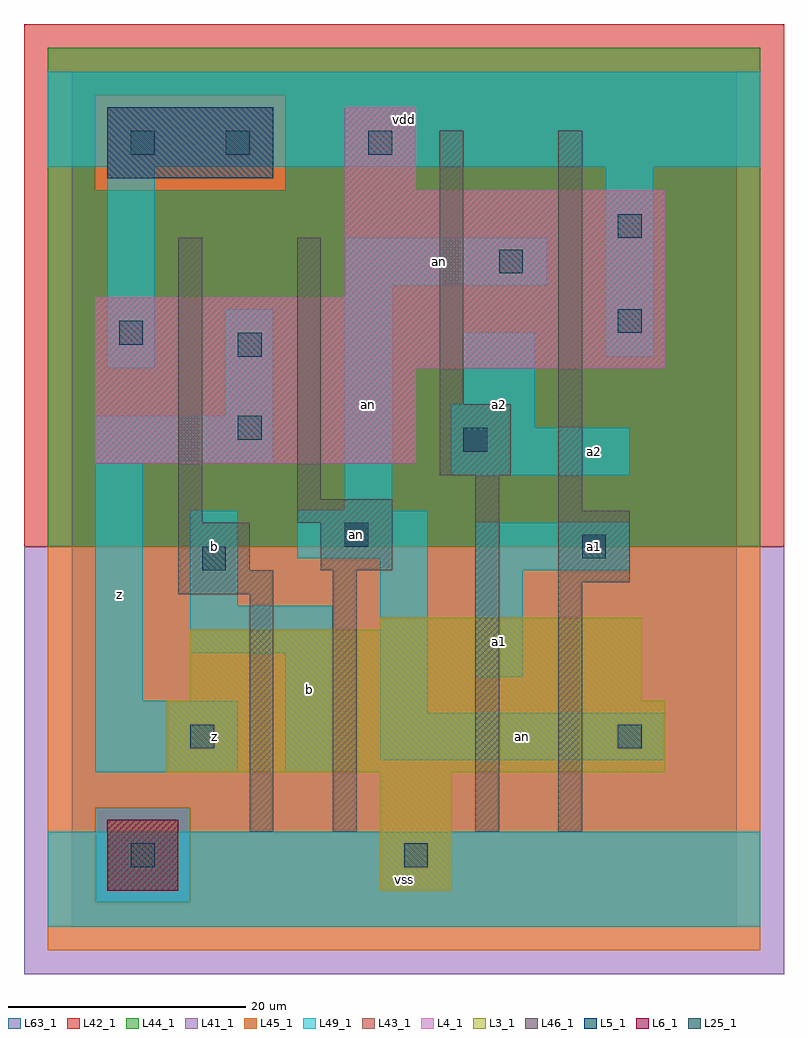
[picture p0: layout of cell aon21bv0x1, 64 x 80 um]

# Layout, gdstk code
import gdstk
lib = gdstk.Library(unit=1e-6, precision=1e-09)
def R(c, l, rs):  # rectangles x0, y0, x1, y1
    for r in rs: c.add(gdstk.rectangle(r[:2], r[2:], *l))
L3_1 = (3, 1)
L4_1 = (4, 1)
L5_1 = (5, 1)
L6_1 = (6, 1)
L25_1 = (25, 1)
L41_1 = (41, 1)
L42_1 = (42, 1)
L43_1 = (43, 1)
L44_1 = (44, 1)
L45_1 = (45, 1)
L46_1 = (46, 1)
L49_1 = (49, 1)
L63_1 = (63, 1)

aon21bv0x1 = lib.new_cell('aon21bv0x1')
R(aon21bv0x1, L3_1, [(26,3,32,13), (8,13,50,19), (10,19,48,25), (26,25,48,26)])
R(aon21bv0x1, L4_1, [(2,39,29,47), (2,47,50,53), (23,53,50,62), (23,62,29,69)])
R(aon21bv0x1, L5_1, [(3,63,17,69)])
R(aon21bv0x1, L6_1, [(3,3,9,9), (3,3,9,9)])
R(aon21bv0x1, L25_1, [(5,5,7,7), (28,5,30,7), (10,15,12,17), (46,15,48,17), (11,30,13,32), (43,31,45,33), (23,32,25,34), (33,40,35,42), (14,41,16,43), (14,48,16,50), (4,49,6,51), (46,50,48,52), (36,55,38,57), (46,58,48,60), (5,65,7,67), (13,65,15,67), (25,65,27,67)])
R(aon21bv0x1, L41_1, [(-4,-4,60,32)])
R(aon21bv0x1, L42_1, [(-4,32,60,76)])
R(aon21bv0x1, L43_1, [(3,3,9,9), (26,3,32,13), (8,13,50,19), (10,19,48,25), (26,25,48,26), (2,39,29,47), (2,47,50,53), (23,53,50,62), (23,62,29,69), (3,63,17,69)])
R(aon21bv0x1, L44_1, [(2,2,10,10), (-2,32,58,62), (-2,62,2,70), (18,62,58,70), (-2,70,58,74)])
R(aon21bv0x1, L45_1, [(-2,-2,58,2), (-2,2,2,10), (10,2,58,10), (-2,10,58,32), (2,62,18,70)])
R(aon21bv0x1, L46_1, [(15,8,17,28), (22,8,24,30), (34,8,36,38), (41,8,43,29), (9,28,17,30), (41,29,47,35), (9,30,15,34), (21,30,27,34), (9,34,11,58), (19,34,27,36), (41,35,43,67), (19,36,21,58), (31,38,37,44), (31,44,33,67)])
R(aon21bv0x1, L49_1, [(-2,0,58,8), (2,13,14,19), (18,13,22,23), (26,14,50,18), (26,18,30,31), (2,19,6,39), (34,21,38,30), (10,23,22,27), (10,27,14,35), (34,30,47,34), (19,31,30,35), (23,35,27,54), (32,38,47,42), (2,39,17,43), (32,42,39,44), (13,43,17,52), (33,44,39,50), (3,47,7,64), (45,48,49,64), (23,54,40,58), (-2,64,58,72)])
R(aon21bv0x1, L63_1, [(0,0,56,72)])
aon21bv0x1.add(gdstk.Label('an', (24,33), layer=49, texttype=1))
aon21bv0x1.add(gdstk.Label('z', (4,28), layer=49, texttype=1))
aon21bv0x1.add(gdstk.Label('b', (20,20), layer=49, texttype=1))
aon21bv0x1.add(gdstk.Label('z', (12,16), layer=49, texttype=1))
aon21bv0x1.add(gdstk.Label('b', (12,32), layer=49, texttype=1))
aon21bv0x1.add(gdstk.Label('an', (25,44), layer=49, texttype=1))
aon21bv0x1.add(gdstk.Label('vss', (28,4), layer=49, texttype=1))
aon21bv0x1.add(gdstk.Label('a1', (36,24), layer=49, texttype=1))
aon21bv0x1.add(gdstk.Label('a2', (36,44), layer=49, texttype=1))
aon21bv0x1.add(gdstk.Label('an', (31,56), layer=49, texttype=1))
aon21bv0x1.add(gdstk.Label('vdd', (28,68), layer=49, texttype=1))
aon21bv0x1.add(gdstk.Label('an', (38,16), layer=49, texttype=1))
aon21bv0x1.add(gdstk.Label('a1', (44,32), layer=49, texttype=1))
aon21bv0x1.add(gdstk.Label('a2', (44,40), layer=49, texttype=1))

lib.write_gds('aon21bv0x1.gds')
